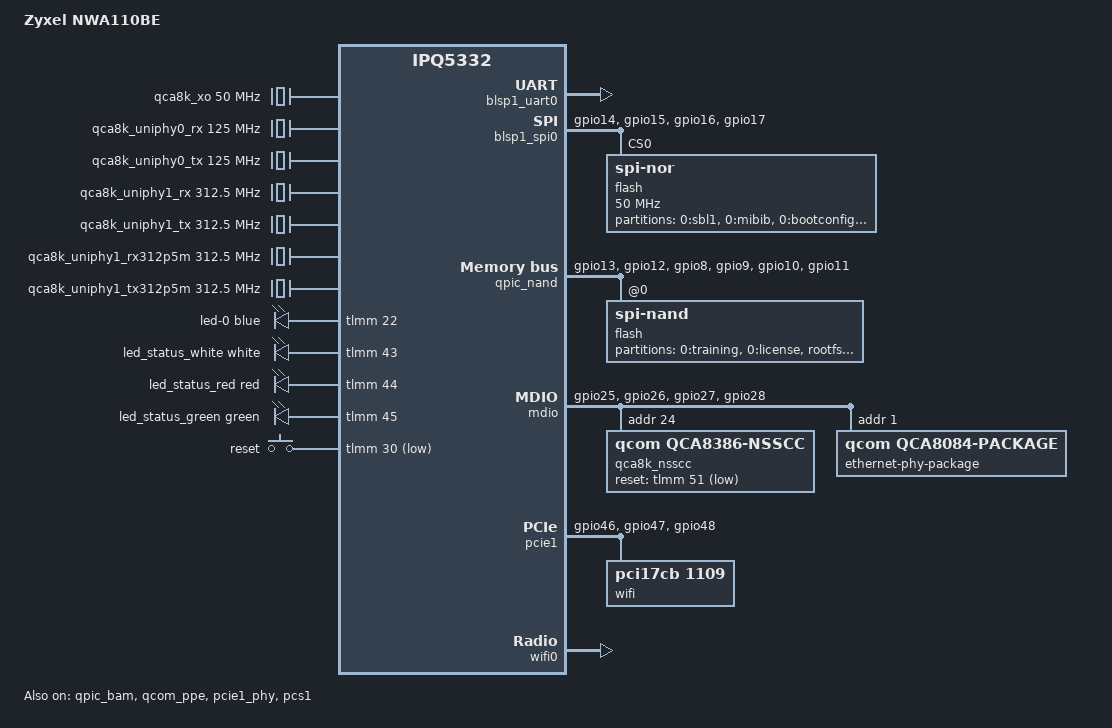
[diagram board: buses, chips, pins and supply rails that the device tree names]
// SPDX-License-Identifier: GPL-2.0-or-later OR MIT

/dts-v1/;

#include <arm64/qcom/ipq5332.dtsi>
#include <dt-bindings/gpio/gpio.h>
#include <dt-bindings/input/input.h>
#include <dt-bindings/leds/common.h>
#include <dt-bindings/clock/qcom,qca8k-nsscc.h>
#include <dt-bindings/reset/qcom,qca8k-nsscc.h>
#include <dt-bindings/net/qcom,qca808x.h>

/ {
	model = "Zyxel NWA110BE";
	compatible = "zyxel,nwa110be", "qcom,ipq5332";

	aliases {
		serial0 = &blsp1_uart0;
		led-boot = &led_status_green;
		led-failsafe = &led_status_red;
		led-running = &led_status_green;
		led-upgrade = &led_status_white;
		label-mac-device = &port_uplink;
	};

	chosen {
		stdout-path = "serial0:115200n8";
		bootargs-append = " root=/dev/ubiblock0_1";
	};

	reserved-memory {
		m3_dump: m3-dump@4d400000 {
			reg = <0x0 0x4d400000 0x0 0x100000>;
			no-map;
		};

		q6_caldb: q6-caldb@4d500000 {
			reg = <0x0 0x4d500000 0x0 0x500000>;
			no-map;
		};

		mlo_mem: mlo-global-mem@4db00000 {
			reg = <0x0 0x4db00000 0x0 0x1200000>;
			no-map;
		};

		qcn6274_host_ddr: qcn6274-host-ddr@4ed00000 {
			reg = <0x0 0x4ed00000 0x0 0x3200000>;
			no-map;
		};
	};

	/*
	 * Inputs of the clock controller in the QCA8386. The 50 MHz reference
	 * comes from the IPQ5332 CMN PLL, which the bootloader sets up. The
	 * SerDes clocks are generated inside the QCA8386 and are only modelled
	 * here so that the clock framework can select parents and dividers.
	 */
	qca8k_xo: clock-qca8k-xo {
		compatible = "fixed-clock";
		#clock-cells = <0>;
		clock-frequency = <50000000>;
	};

	/*
	 * SerDes 0 runs at 125 MHz (SGMII) or 312.5 MHz (SGMII+). The PHY
	 * driver programs the PHY3 dividers for 125 MHz, which are the same
	 * for 1000M on SGMII and 2500M on SGMII+.
	 */
	qca8k_uniphy0_rx: clock-qca8k-uniphy0-rx {
		compatible = "fixed-clock";
		#clock-cells = <0>;
		clock-frequency = <125000000>;
	};

	qca8k_uniphy0_tx: clock-qca8k-uniphy0-tx {
		compatible = "fixed-clock";
		#clock-cells = <0>;
		clock-frequency = <125000000>;
	};

	qca8k_uniphy1_rx: clock-qca8k-uniphy1-rx {
		compatible = "fixed-clock";
		#clock-cells = <0>;
		clock-frequency = <312500000>;
	};

	qca8k_uniphy1_tx: clock-qca8k-uniphy1-tx {
		compatible = "fixed-clock";
		#clock-cells = <0>;
		clock-frequency = <312500000>;
	};

	qca8k_uniphy1_rx312p5m: clock-qca8k-uniphy1-rx312p5m {
		compatible = "fixed-clock";
		#clock-cells = <0>;
		clock-frequency = <312500000>;
	};

	qca8k_uniphy1_tx312p5m: clock-qca8k-uniphy1-tx312p5m {
		compatible = "fixed-clock";
		#clock-cells = <0>;
		clock-frequency = <312500000>;
	};

	leds {
		compatible = "gpio-leds";
		pinctrl-0 = <&led_pins>;
		pinctrl-names = "default";

		led-0 {
			color = <LED_COLOR_ID_BLUE>;
			function = LED_FUNCTION_STATUS;
			gpios = <&tlmm 22 GPIO_ACTIVE_HIGH>;
		};

		led_status_white: led-1 {
			color = <LED_COLOR_ID_WHITE>;
			function = LED_FUNCTION_STATUS;
			gpios = <&tlmm 43 GPIO_ACTIVE_HIGH>;
		};

		led_status_red: led-2 {
			color = <LED_COLOR_ID_RED>;
			function = LED_FUNCTION_STATUS;
			gpios = <&tlmm 44 GPIO_ACTIVE_HIGH>;
		};

		led_status_green: led-3 {
			color = <LED_COLOR_ID_GREEN>;
			function = LED_FUNCTION_STATUS;
			gpios = <&tlmm 45 GPIO_ACTIVE_HIGH>;
		};
	};

	keys {
		compatible = "gpio-keys";
		pinctrl-0 = <&button_pins>;
		pinctrl-names = "default";

		reset-button {
			label = "reset";
			linux,code = <KEY_RESTART>;
			gpios = <&tlmm 30 GPIO_ACTIVE_LOW>;
			debounce-interval = <60>;
		};
	};
};

&blsp1_uart0 {
	pinctrl-0 = <&serial_0_pins>;
	pinctrl-names = "default";
	status = "okay";
};

&sleep_clk {
	clock-frequency = <32000>;
};

&xo_board {
	clock-frequency = <24000000>;
};

&blsp1_spi0 {
	pinctrl-0 = <&spi_0_data_clk_pins &spi_0_cs_pins>;
	pinctrl-names = "default";
	status = "okay";

	flash@0 {
		compatible = "jedec,spi-nor";
		reg = <0>;
		spi-max-frequency = <50000000>;

		partitions {
			compatible = "fixed-partitions";
			#address-cells = <1>;
			#size-cells = <1>;

			partition@0 {
				label = "0:sbl1";
				reg = <0x000000 0x080000>;
				read-only;
			};

			partition@80000 {
				label = "0:mibib";
				reg = <0x080000 0x010000>;
				read-only;
			};

			partition@90000 {
				label = "0:bootconfig";
				reg = <0x090000 0x010000>;
			};

			partition@a0000 {
				label = "0:qsee";
				reg = <0x0a0000 0x170000>;
				read-only;
			};

			partition@210000 {
				label = "0:devcfg";
				reg = <0x210000 0x010000>;
				read-only;
			};

			partition@220000 {
				label = "0:tme";
				reg = <0x220000 0x020000>;
				read-only;
			};

			partition@240000 {
				label = "0:cdt";
				reg = <0x240000 0x010000>;
				read-only;
			};

			partition@250000 {
				label = "0:appsblenv";
				reg = <0x250000 0x010000>;
			};

			partition@260000 {
				label = "0:appsbl";
				reg = <0x260000 0x0a0000>;
				read-only;
			};

			partition@300000 {
				label = "0:art";
				reg = <0x300000 0x100000>;
				read-only;
			};

			partition@400000 {
				label = "0:bootconfig1";
				reg = <0x400000 0x010000>;
			};

			partition@410000 {
				label = "0:qsee_1";
				reg = <0x410000 0x170000>;
				read-only;
			};

			partition@580000 {
				label = "0:devcfg_1";
				reg = <0x580000 0x010000>;
				read-only;
			};

			partition@590000 {
				label = "0:tme_1";
				reg = <0x590000 0x020000>;
				read-only;
			};

			partition@5b0000 {
				label = "0:cdt_1";
				reg = <0x5b0000 0x010000>;
				read-only;
			};

			partition@5c0000 {
				label = "0:appsbl_1";
				reg = <0x5c0000 0x0a0000>;
				read-only;
			};

			partition@660000 {
				label = "mrd";
				reg = <0x660000 0x010000>;
				read-only;

				nvmem-layout {
					compatible = "fixed-layout";
					#address-cells = <1>;
					#size-cells = <1>;

					macaddr_mrd_fff8: macaddr@fff8 {
						compatible = "mac-base";
						reg = <0xfff8 0x6>;
						#nvmem-cell-cells = <1>;
					};
				};
			};

			partition@670000 {
				label = "mrd_1";
				reg = <0x670000 0x010000>;
				read-only;
			};

			partition@680000 {
				label = "reserved";
				reg = <0x680000 0x980000>;
				read-only;
			};
		};
	};
};

&qpic_bam {
	status = "okay";
};

&qpic_nand {
	pinctrl-0 = <&qspi_pins>;
	pinctrl-names = "default";
	status = "okay";

	flash@0 {
		compatible = "spi-nand";
		reg = <0>;
		nand-ecc-engine = <&qpic_nand>;
		nand-ecc-strength = <8>;
		nand-ecc-step-size = <512>;

		partitions {
			compatible = "fixed-partitions";
			#address-cells = <1>;
			#size-cells = <1>;

			partition@0 {
				label = "0:training";
				reg = <0x0000000 0x0080000>;
				read-only;
			};

			partition@80000 {
				label = "0:license";
				reg = <0x0080000 0x0040000>;
				read-only;
			};

			/* image0: U-Boot always passes ubi.mtd=rootfs */
			partition@c0000 {
				label = "rootfs";
				reg = <0x00c0000 0x4600000>;
				linux,rootfs;
			};

			/* image1 */
			partition@46c0000 {
				label = "rootfs_1";
				reg = <0x46c0000 0x4600000>;
			};

			partition@8cc0000 {
				label = "zyxel_rootfs_data";
				reg = <0x8cc0000 0x3c00000>;
				read-only;
			};

			partition@c8c0000 {
				label = "logs";
				reg = <0xc8c0000 0x2840000>;
			};

			partition@f100000 {
				label = "myzyxel";
				reg = <0xf100000 0x0f00000>;
				read-only;
			};
		};
	};
};

&mdio {
	pinctrl-0 = <&mdio0_pins>, <&mdio1_pins>;
	pinctrl-names = "default";
	status = "okay";

	/* clock and reset controller of the QCA8386 */
	qca8k_nsscc: clock-controller@18 {
		compatible = "qcom,qca8386-nsscc", "qcom,qca8084-nsscc";
		reg = <0x18>;
		reset-gpios = <&tlmm 51 GPIO_ACTIVE_LOW>;
		clocks = <&qca8k_xo>,
			 <&qca8k_uniphy0_rx>,
			 <&qca8k_uniphy0_tx>,
			 <&qca8k_uniphy1_rx>,
			 <&qca8k_uniphy1_tx>,
			 <&qca8k_uniphy1_rx312p5m>,
			 <&qca8k_uniphy1_tx312p5m>;
		#clock-cells = <1>;
		#reset-cells = <1>;
		#power-domain-cells = <1>;

		/* SerDes 0 is clocked by PHY3 (MAC4) instead of MAC5 */
		assigned-clocks = <&qca8k_nsscc NSS_CC_MAC5_TX_SRDS0_CLK_SRC>,
				  <&qca8k_nsscc NSS_CC_MAC5_RX_SRDS0_CLK_SRC>;
		assigned-clock-parents = <&qca8k_nsscc NSS_CC_MAC4_RX_DIV_CLK_SRC>,
					 <&qca8k_nsscc NSS_CC_MAC4_TX_DIV_CLK_SRC>;
	};

	/*
	 * The four PHYs of the QCA8386. Only PHY3 (MDIO address 4) is used: it
	 * bypasses the switch core and connects to the IPQ5332 through the
	 * QCA8386 SerDes 0 (PCS0) in SGMII/SGMII+ mode. SerDes 1 (PCS1), the
	 * unused switch CPU port, supplies the switch core clocks.
	 */
	ethernet-phy-package@1 {
		compatible = "qcom,qca8084-package";
		reg = <1>;
		#address-cells = <1>;
		#size-cells = <0>;

		clocks = <&qca8k_nsscc NSS_CC_APB_BRIDGE_CLK>,
			 <&qca8k_nsscc NSS_CC_AHB_CLK>,
			 <&qca8k_nsscc NSS_CC_SEC_CTRL_AHB_CLK>,
			 <&qca8k_nsscc NSS_CC_TLMM_CLK>,
			 <&qca8k_nsscc NSS_CC_TLMM_AHB_CLK>,
			 <&qca8k_nsscc NSS_CC_CNOC_AHB_CLK>,
			 <&qca8k_nsscc NSS_CC_MDIO_AHB_CLK>;
		clock-names = "apb_bridge",
			      "ahb",
			      "sec_ctrl_ahb",
			      "tlmm",
			      "tlmm_ahb",
			      "cnoc_ahb",
			      "mdio_ahb";
		resets = <&qca8k_nsscc NSS_CC_GEPHY_FULL_ARES>;
		qcom,package-mode = <QCA808X_PCS1_SGMII_MAC_PCS0_SGMII_PHY>;
		qcom,phy-addr-fixup = <1 2 3 4 5 6 7>;

		ethernet-phy@1 {
			compatible = "ethernet-phy-id004d.d180";
			reg = <1>;
			clocks = <&qca8k_nsscc NSS_CC_GEPHY0_SYS_CLK>;
			resets = <&qca8k_nsscc NSS_CC_GEPHY0_SYS_ARES>;
		};

		ethernet-phy@2 {
			compatible = "ethernet-phy-id004d.d180";
			reg = <2>;
			clocks = <&qca8k_nsscc NSS_CC_GEPHY1_SYS_CLK>;
			resets = <&qca8k_nsscc NSS_CC_GEPHY1_SYS_ARES>;
		};

		ethernet-phy@3 {
			compatible = "ethernet-phy-id004d.d180";
			reg = <3>;
			clocks = <&qca8k_nsscc NSS_CC_GEPHY2_SYS_CLK>;
			resets = <&qca8k_nsscc NSS_CC_GEPHY2_SYS_ARES>;
		};

		qca8386_phy3: ethernet-phy@4 {
			compatible = "ethernet-phy-id004d.d180";
			reg = <4>;
			clocks = <&qca8k_nsscc NSS_CC_GEPHY3_SYS_CLK>;
			resets = <&qca8k_nsscc NSS_CC_GEPHY3_SYS_ARES>;
		};

		/* PCS0, PHY side of SGMII for PHY3 */
		pcs-phy@5 {
			compatible = "qcom,qca8k-pcs-phy";
			reg = <5>;
			clocks = <&qca8k_nsscc NSS_CC_SRDS0_SYS_CLK>,
				 <&qca8k_uniphy0_rx>,
				 <&qca8k_uniphy0_tx>,
				 <&qca8k_nsscc NSS_CC_MAC4_GEPHY3_TX_CLK>,
				 <&qca8k_nsscc NSS_CC_MAC4_GEPHY3_RX_CLK>,
				 <&qca8k_nsscc NSS_CC_MAC5_TX_SRDS0_CLK>,
				 <&qca8k_nsscc NSS_CC_MAC5_RX_SRDS0_CLK>;
			clock-names = "pcs",
				      "pcs_rx_root",
				      "pcs_tx_root",
				      "phy_tx",
				      "phy_rx",
				      "srds_tx",
				      "srds_rx";
			resets = <&qca8k_nsscc NSS_CC_SRDS0_SYS_ARES>,
				 <&qca8k_nsscc NSS_CC_MAC4_GEPHY3_TX_ARES>,
				 <&qca8k_nsscc NSS_CC_MAC4_GEPHY3_RX_ARES>,
				 <&qca8k_nsscc NSS_CC_MAC5_TX_SRDS0_ARES>,
				 <&qca8k_nsscc NSS_CC_MAC5_RX_SRDS0_ARES>;
			reset-names = "pcs",
				      "phy_tx",
				      "phy_rx",
				      "srds_tx",
				      "srds_rx";
		};

		/* PCS1, switch MAC0 */
		pcs-phy@6 {
			compatible = "qcom,qca8k-pcs-phy";
			reg = <6>;
			clocks = <&qca8k_nsscc NSS_CC_SRDS1_SYS_CLK>,
				 <&qca8k_uniphy1_tx312p5m>,
				 <&qca8k_uniphy1_rx312p5m>;
			clock-names = "pcs",
				      "pcs_rx_root",
				      "pcs_tx_root";
			resets = <&qca8k_nsscc NSS_CC_SRDS1_SYS_ARES>;
		};
	};
};

&q6v5_wcss {
	firmware-name = "ath12k/IPQ5332/hw1.0/q6_fw0.mdt";
	qcom,bootargs_smem = <507>;
	upd-firmware-names = "ath12k/IPQ5332/hw1.0/q6_fw1.mdt";
};

&qcom_ppe {
	status = "okay";

	ethernet-ports {
		#address-cells = <1>;
		#size-cells = <0>;

		port_uplink: port@2 {
			reg = <2>;
			label = "uplink";
			phy-mode = "sgmii";
			managed = "in-band-status";
			phy-handle = <&qca8386_phy3>;
			pcs-handle = <&pcs1_ch0>;
			nvmem-cells = <&macaddr_mrd_fff8 0>;
			nvmem-cell-names = "mac-address";
			clocks = <&nsscc NSS_CC_PORT2_MAC_CLK>,
				 <&nsscc NSS_CC_PORT2_RX_CLK>,
				 <&nsscc NSS_CC_PORT2_TX_CLK>;
			clock-names = "mac",
				      "rx",
				      "tx";
			resets = <&nsscc NSS_CC_PORT2_MAC_CLK_ARES>,
				 <&nsscc NSS_CC_PORT2_RX_CLK_ARES>,
				 <&nsscc NSS_CC_PORT2_TX_CLK_ARES>;
			reset-names = "mac",
				      "rx",
				      "tx";
		};
	};
};

&pcie1 {
	pinctrl-0 = <&pcie1_default>;
	pinctrl-names = "default";

	perst-gpios = <&tlmm 47 GPIO_ACTIVE_LOW>;
	wake-gpios = <&tlmm 48 GPIO_ACTIVE_LOW>;

	status = "okay";

	pcie@0 {
		/* QCN6274, 5 GHz or 6 GHz */
		wifi@0 {
			compatible = "pci17cb,1109";
			reg = <0x00010000 0 0 0 0>;
			qcom,ath12k-board-id = <12>;
			qcom,num-radios = <1>;
			qcom,ath12k-fw-memory-mode = <1>;
		};
	};
};

&pcie1_phy {
	status = "okay";
};

&pcs1 {
	status = "okay";
};

&tlmm {
	button_pins: button-state {
		pins = "gpio30";
		function = "gpio";
		drive-strength = <8>;
		bias-pull-up;
	};

	led_pins: led-state {
		pins = "gpio22", "gpio43", "gpio44", "gpio45";
		function = "gpio";
		drive-strength = <8>;
		bias-pull-down;
	};

	mdio0_pins: mdio0-state {
		mdc-pins {
			pins = "gpio25";
			function = "mdc0";
			drive-strength = <2>;
			bias-pull-up;
		};

		mdio-pins {
			pins = "gpio26";
			function = "mdio0";
			drive-strength = <2>;
			bias-pull-up;
		};
	};

	mdio1_pins: mdio1-state {
		mdc-pins {
			pins = "gpio27";
			function = "mdc1";
			drive-strength = <8>;
			bias-disable;
		};

		mdio-pins {
			pins = "gpio28";
			function = "mdio1";
			drive-strength = <8>;
			bias-pull-up;
		};
	};

	pcie1_default: pcie1-default-state {
		clkreq-n-pins {
			pins = "gpio46";
			function = "pcie1_clk";
			drive-strength = <8>;
			bias-pull-up;
		};

		perst-n-pins {
			pins = "gpio47";
			function = "gpio";
			drive-strength = <8>;
			bias-pull-up;
			output-low;
		};

		wake-n-pins {
			pins = "gpio48";
			function = "pcie1_wake";
			drive-strength = <8>;
			bias-pull-up;
		};
	};

	qspi_pins: qspi-state {
		clk-pins {
			pins = "gpio13";
			function = "qspi_clk";
			drive-strength = <8>;
			bias-pull-down;
		};

		cs-pins {
			pins = "gpio12";
			function = "qspi_cs";
			drive-strength = <8>;
			bias-pull-up;
		};

		data-pins {
			pins = "gpio8", "gpio9", "gpio10", "gpio11";
			function = "qspi_data";
			drive-strength = <8>;
			bias-pull-down;
		};
	};

	spi_0_data_clk_pins: spi-0-data-clk-state {
		pins = "gpio14", "gpio15", "gpio16";
		function = "blsp0_spi";
		drive-strength = <2>;
		bias-pull-down;
	};

	spi_0_cs_pins: spi-0-cs-state {
		pins = "gpio17";
		function = "blsp0_spi";
		drive-strength = <2>;
		bias-pull-up;
	};
};

&wifi0 {
	memory-region = <&q6_region>, <&m3_dump>, <&q6_caldb>, <&mlo_mem>;
	memory-region-names = "q6-region", "m3-dump", "q6-caldb", "mlo-global-mem";
	qcom,ath12k-board-id = <18>;
	qcom,rproc = <&q6v5_wcss>;
	status = "okay";
};
